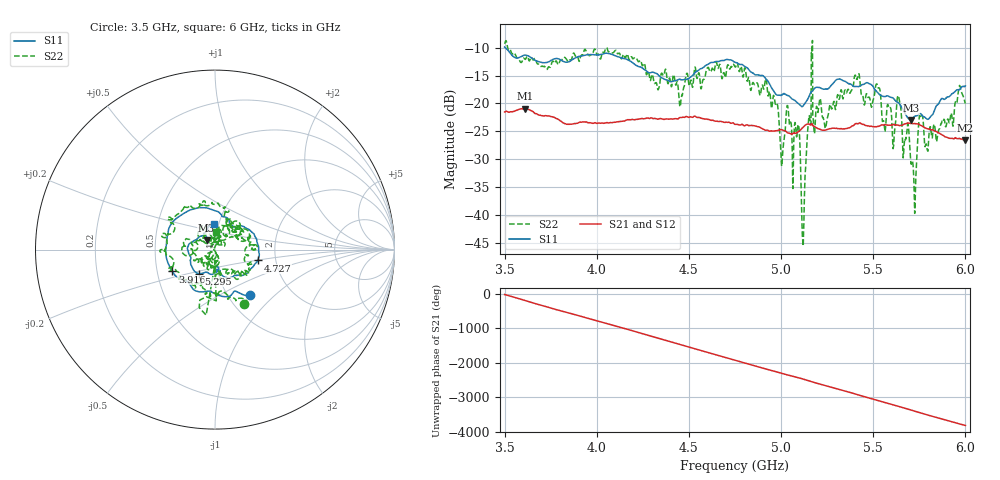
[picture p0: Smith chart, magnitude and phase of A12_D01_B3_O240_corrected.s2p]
! Created with skrf 1.9.0 (http://scikit-rf.org).
# Hz S RI R 50.0
!freq ReS11 ImS11 ReS21 ImS21 ReS12 ImS12 ReS22 ImS22
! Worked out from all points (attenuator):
!   1601 points, 3.5 GHz to 6 GHz, reference 50 ohm
!   highest |S21| = -20.94 dB at 3.609 GHz (marker M1); lowest = -26.6 dB at 6 GHz (marker M2)
!   lowest |S11| = -23.0 dB at 5.705 GHz (marker M3), VSWR 1.15, Z = 45.3 + j4.81 ohm
!   |S11| at or under -10 dB: 3.505 GHz to end of sweep
!   |S22| runs from -45.6 to -8.7 dB; largest |S21 - S12| = 0.0012
!   S11 on the Smith chart (normalised r, x): 3.5 GHz: 1.26, -0.72; 3.916 GHz: 0.60, -0.16; 4.727 GHz: 1.61, -0.21; 5.295 GHz: 0.81, -0.22; 6 GHz: 0.95, +0.28
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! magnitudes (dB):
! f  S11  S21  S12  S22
! 3.5 GHz  -9.9  -21.5  -21.5  -9.3
! 3.609 GHz  -11.3  -20.9  -21.0  -12.0
! 3.916 GHz  -11.5  -23.4  -23.4  -11.4
! 3.917 GHz  -11.5  -23.4  -23.4  -11.3
! 4.334 GHz  -14.9  -22.8  -22.8  -17.4
! 4.727 GHz  -12.2  -23.6  -23.5  -13.5
! 4.75 GHz  -12.6  -23.8  -23.7  -13.4
! 4.969 GHz  -18.2  -24.9  -24.9  -20.1
! 5.005 GHz  -18.4  -24.7  -24.7  -30.9
! 5.036 GHz  -18.6  -25.3  -25.2  -20.4
! 5.088 GHz  -19.8  -25.2  -25.2  -25.2
! 5.119 GHz  -20.5  -24.3  -24.2  -45.6
! 5.167 GHz  -17.8  -23.6  -23.6  -10.6
! 5.295 GHz  -15.9  -24.5  -24.4  -21.1
! 5.412 GHz  -17.0  -23.6  -23.7  -15.7
! 5.584 GHz  -18.7  -23.9  -23.9  -20.6
! 5.641 GHz  -20.0  -24.0  -23.9  -19.2
! 5.705 GHz  -23.0  -23.6  -23.6  -30.7
! 5.723 GHz  -22.3  -23.6  -23.6  -37.8
! 5.758 GHz  -21.8  -23.9  -23.9  -22.5
! 5.789 GHz  -22.7  -24.5  -24.5  -27.4
! 6 GHz  -16.8  -26.6  -26.5  -20.0
